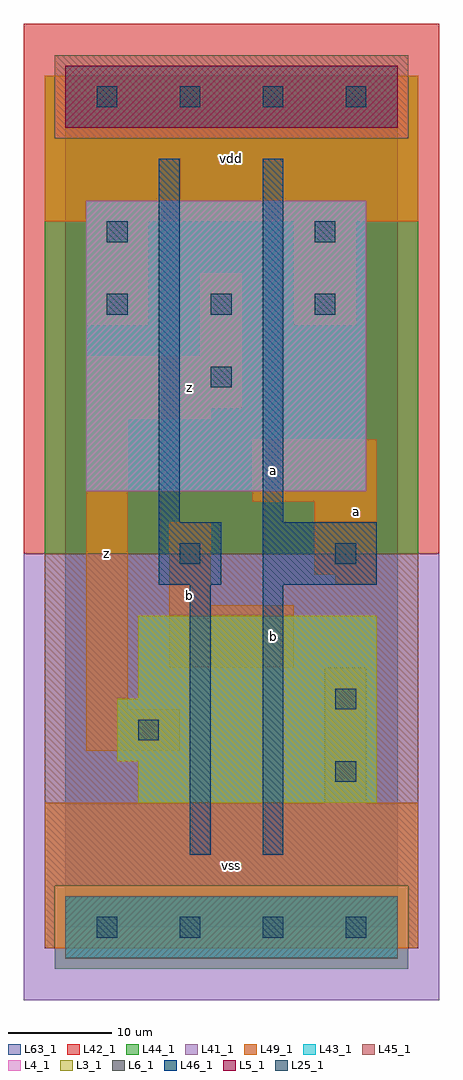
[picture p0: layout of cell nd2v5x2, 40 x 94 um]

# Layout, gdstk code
import gdstk
lib = gdstk.Library(unit=1e-6, precision=1e-09)
def R(c, l, rs):  # rectangles x0, y0, x1, y1
    for r in rs: c.add(gdstk.rectangle(r[:2], r[2:], *l))
def A(c, l, x, y, w, h, nx, ny, dx, dy):  # array of equal rectangles
    R(c, l, [(x+i*dx, y+j*dy, x+i*dx+w, y+j*dy+h) for i in range(nx) for j in range(ny)])
L3_1 = (3, 1)
L4_1 = (4, 1)
L5_1 = (5, 1)
L6_1 = (6, 1)
L25_1 = (25, 1)
L41_1 = (41, 1)
L42_1 = (42, 1)
L43_1 = (43, 1)
L44_1 = (44, 1)
L45_1 = (45, 1)
L46_1 = (46, 1)
L49_1 = (49, 1)
L63_1 = (63, 1)

nd2v5x2 = lib.new_cell('nd2v5x2')
R(nd2v5x2, L3_1, [(7,12,30,16), (5,16,30,22), (7,22,30,30)])
R(nd2v5x2, L4_1, [(2,42,29,70)])
R(nd2v5x2, L5_1, [(0,77,32,83)])
R(nd2v5x2, L6_1, [(0,-3,32,3), (0,-3,32,3)])
A(nd2v5x2, L25_1, 3, -1, 2, 2, 4, 2, 8, 80)
A(nd2v5x2, L25_1, 4, 59, 2, 2, 3, 1, 10, 0)
R(nd2v5x2, L25_1, [(26,14,28,16), (7,18,9,20), (26,21,28,23), (11,35,13,37), (26,35,28,37), (14,52,16,54), (4,66,6,68), (24,66,26,68)])
R(nd2v5x2, L41_1, [(-4,-7,36,36)])
R(nd2v5x2, L42_1, [(-4,36,36,87)])
R(nd2v5x2, L43_1, [(0,-3,32,3), (7,12,30,16), (5,16,30,22), (7,22,30,30), (2,42,29,70), (0,77,32,83)])
R(nd2v5x2, L44_1, [(-1,-4,33,4), (-2,36,34,76), (-2,76,-1,82), (33,76,34,82)])
R(nd2v5x2, L45_1, [(-2,-2,-1,4), (33,-2,34,4), (-2,4,34,36), (-1,76,33,84)])
R(nd2v5x2, L46_1, [(12,7,14,33), (19,7,21,33), (9,33,15,39), (19,33,30,39), (9,39,11,74), (19,39,21,74)])
R(nd2v5x2, L49_1, [(-2,-2,34,12), (25,12,29,25), (2,17,11,21), (2,21,6,49), (10,25,22,31), (10,31,14,39), (26,33,30,34), (24,34,30,41), (18,41,30,47), (2,49,14,50), (2,50,17,55), (13,55,17,63), (2,58,8,68), (22,58,28,68), (-2,68,34,82)])
R(nd2v5x2, L63_1, [(0,0,32,80)])
nd2v5x2.add(gdstk.Label('z', (4,36), layer=49, texttype=1))
nd2v5x2.add(gdstk.Label('b', (12,32), layer=49, texttype=1))
nd2v5x2.add(gdstk.Label('z', (12,52), layer=49, texttype=1))
nd2v5x2.add(gdstk.Label('vss', (16,6), layer=49, texttype=1))
nd2v5x2.add(gdstk.Label('b', (20,28), layer=49, texttype=1))
nd2v5x2.add(gdstk.Label('a', (20,44), layer=49, texttype=1))
nd2v5x2.add(gdstk.Label('vdd', (16,74), layer=49, texttype=1))
nd2v5x2.add(gdstk.Label('a', (28,40), layer=49, texttype=1))

lib.write_gds('nd2v5x2.gds')
